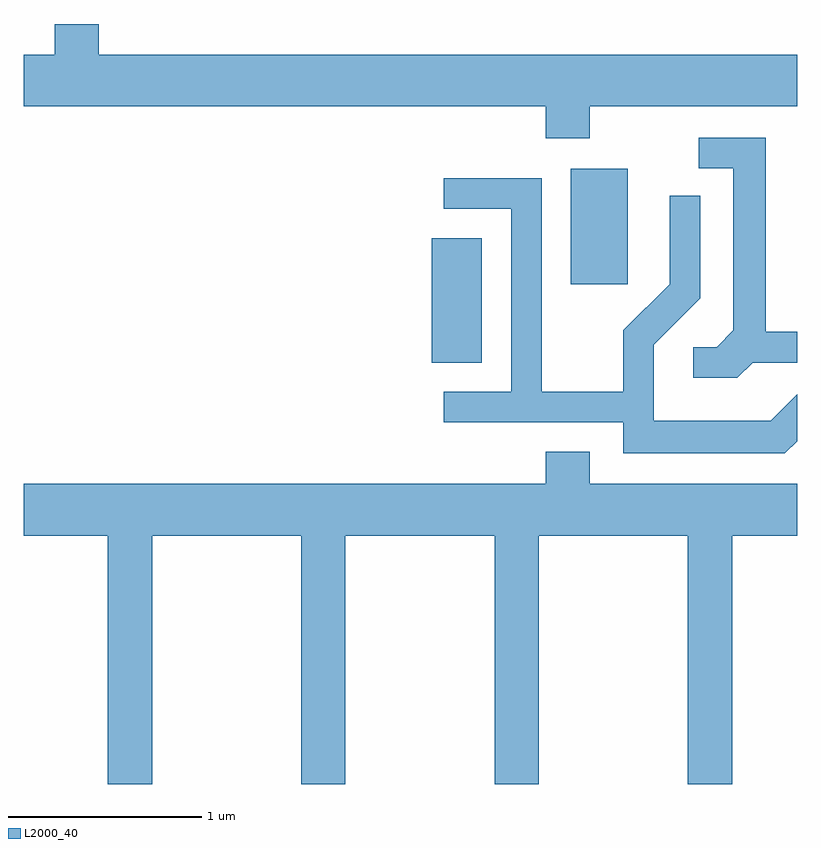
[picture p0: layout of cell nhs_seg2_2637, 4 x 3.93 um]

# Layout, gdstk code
import gdstk
lib = gdstk.Library(unit=1e-6, precision=1e-09)
def R(c, l, rs):  # rectangles x0, y0, x1, y1
    for r in rs: c.add(gdstk.rectangle(r[:2], r[2:], *l))
def P(c, l, *ps):  # polygons
    for p in ps: c.add(gdstk.Polygon(p, *l))
L2000_40 = (2000, 40)

nhs_seg2_2637 = lib.new_cell('nhs_seg2_2637')
R(nhs_seg2_2637, L2000_40, [(263.721,1098.051,263.979,1098.694), (264.441,1098.456,264.734,1099.054)])
P(nhs_seg2_2637, L2000_40, [(264.539,1099.376),(265.611,1099.376),(265.611,1099.644),(261.999,1099.644),(261.999,1099.802),(261.771,1099.802),(261.771,1099.644),(261.611,1099.644),(261.611,1099.376),(264.311,1099.376),(264.311,1099.211),(264.539,1099.211)],
  [(265.382,1098.051),(265.611,1098.051),(265.611,1098.209),(265.449,1098.209),(265.449,1099.214),(265.103,1099.214),(265.103,1099.056),(265.281,1099.056),(265.281,1098.217),(265.194,1098.129),(265.073,1098.129),(265.073,1097.971),(265.302,1097.971)],
  [(265.611,1097.645),(265.611,1097.886),(265.474,1097.749),(264.869,1097.749),(264.869,1098.144),(265.109,1098.384),(265.109,1098.913),(264.951,1098.913),(264.951,1098.457),(264.711,1098.217),(264.711,1097.899),(264.289,1097.899),(264.289,1099.004),(263.783,1099.004),(263.783,1098.846),(264.131,1098.846),(264.131,1097.899),(263.783,1097.899),(263.783,1097.741),(264.711,1097.741),(264.711,1097.581),(265.547,1097.581)],
  [(262.274,1097.156),(263.046,1097.156),(263.046,1095.871),(263.274,1095.871),(263.274,1097.156),(264.046,1097.156),(264.046,1095.871),(264.274,1095.871),(264.274,1097.156),(265.046,1097.156),(265.046,1095.871),(265.274,1095.871),(265.274,1097.156),(265.611,1097.156),(265.611,1097.424),(264.539,1097.424),(264.539,1097.589),(264.311,1097.589),(264.311,1097.424),(261.611,1097.424),(261.611,1097.156),(262.046,1097.156),(262.046,1095.871),(262.274,1095.871)])

lib.write_gds('nhs_seg2_2637.gds')
